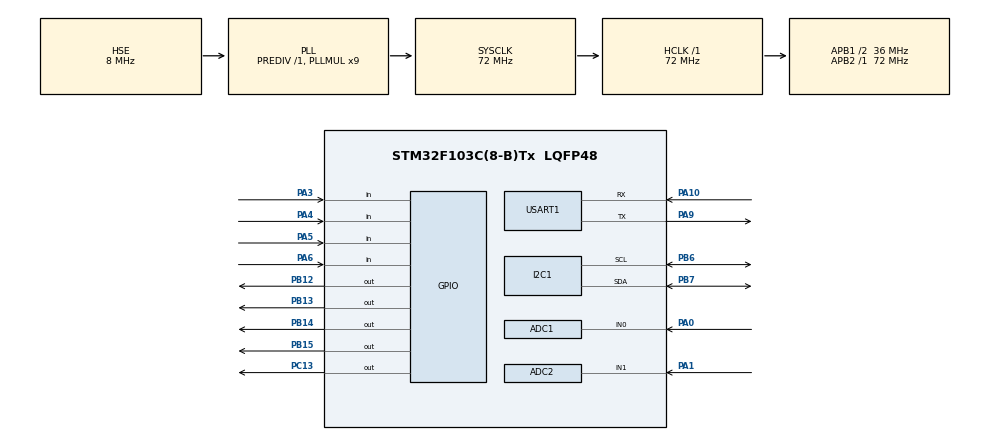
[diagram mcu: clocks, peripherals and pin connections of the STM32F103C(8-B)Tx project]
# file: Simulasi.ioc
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Mcu.Family=STM32F1
RCC.PLLSourceVirtual=RCC_PLLSOURCE_HSE
ADC1.Rank-0\#ChannelRegularConversion=1
PD1-OSC_OUT.Mode=HSE-External-Oscillator
PA10.Mode=Asynchronous
ADC1.ContinuousConvMode=ENABLE
ADC2.Channel-0\#ChannelRegularConversion=ADC_CHANNEL_1
PC13-TAMPER-RTC.Signal=GPIO_Output
PD0-OSC_IN.Signal=RCC_OSC_IN
RCC.APB1CLKDivider=RCC_HCLK_DIV2
PB13.Signal=GPIO_Output
PB15.Signal=GPIO_Output
RCC.SYSCLKSource=RCC_SYSCLKSOURCE_PLLCLK
ProjectManager.StackSize=0x400
PA0-WKUP.Signal=ADCx_IN0
PD1-OSC_OUT.Signal=RCC_OSC_OUT
RCC.ADCPresc=RCC_ADCPCLK2_DIV6
PA13.Signal=SYS_JTMS-SWDIO
PA9.Mode=Asynchronous
TIM1.Prescaler=72-1
ADC2.ContinuousConvMode=ENABLE
ProjectManager.TargetToolchain=STM32CubeIDE
RCC.HCLKFreq_Value=72000000
RCC.APB2TimFreq_Value=72000000
PA9.Signal=USART1_TX
PB6.Signal=I2C1_SCL
PB6.Mode=I2C
RCC.USBFreq_Value=72000000
PA1.Signal=ADCx_IN1
RCC.AHBFreq_Value=72000000
PD0-OSC_IN.Mode=HSE-External-Oscillator
PB14.Signal=GPIO_Output
PA5.Signal=GPIO_Input
ADC1.Channel-0\#ChannelRegularConversion=ADC_CHANNEL_0
board=custom
RCC.PLLMUL=RCC_PLL_MUL9
RCC.APB2Freq_Value=72000000
PA14.Mode=Serial_Wire
PB7.Signal=I2C1_SDA
SH.ADCx_IN0.0=ADC1_IN0,IN0
PA13.Mode=Serial_Wire
Mcu.Name=STM32F103C(8-B)Tx
VP_TIM1_VS_ClockSourceINT.Mode=Internal
ADC1.SamplingTime-0\#ChannelRegularConversion=ADC_SAMPLETIME_1CYCLE_5
PA4.Signal=GPIO_Input
RCC.SYSCLKFreq_VALUE=72000000
Mcu.Package=LQFP48
PA6.Signal=GPIO_Input
ADC1.master=1
ADC2.NbrOfConversionFlag=1
USART1.VirtualMode=VM_ASYNC
PB7.Mode=I2C
PA10.Signal=USART1_RX
PA14.Signal=SYS_JTCK-SWCLK
ProjectManager.HeapSize=0x200
ADC2.SamplingTime-0\#ChannelRegularConversion=ADC_SAMPLETIME_1CYCLE_5
NVIC.PriorityGroup=NVIC_PRIORITYGROUP_4
ADC1.NbrOfConversionFlag=1
SH.ADCx_IN1.0=ADC2_IN1,IN1
RCC.APB1TimFreq_Value=72000000
TIM1.Period=0xffff-1
ADC2.Rank-0\#ChannelRegularConversion=1
RCC.APB1Freq_Value=36000000
PB12.Signal=GPIO_Output
PA3.Signal=GPIO_Input

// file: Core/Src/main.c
/* USER CODE BEGIN Header */
/**
  ******************************************************************************
  * @file           : main.c
  * @brief          : Main program body
  ******************************************************************************
  * @attention
  *
  * <h2><center>&copy; Copyright (c) 2021 STMicroelectronics.
  * All rights reserved.</center></h2>
  *
  * This software component is licensed by ST under BSD 3-Clause license,
  * the "License"; You may not use this file except in compliance with the
  * License. You may obtain a copy of the License at:
  *                        opensource.org/licenses/BSD-3-Clause
  *
  ******************************************************************************
  */
/* USER CODE END Header */
#include "main.h"

/* USER CODE BEGIN Includes */
#include <string.h>
#include <stdio.h>
#include <stdlib.h>
#include <stdbool.h>

#include "math.h"
#include "i2c-lcd.h"
#include "micros.h" //https://github.com/leech001/micros
#include "stdio.h"
#include "keypad_4x4.h"
/* USER CODE END Includes */

/* USER CODE BEGIN PTD */
#define map(x,in_min,in_max,out_min,out_max) ( (x-in_min) * (out_max-out_min) / (in_max-in_min) + out_min )
/* USER CODE END PTD */

ADC_HandleTypeDef hadc1;
ADC_HandleTypeDef hadc2;

I2C_HandleTypeDef hi2c1;

TIM_HandleTypeDef htim1;

UART_HandleTypeDef huart1;

/* USER CODE BEGIN PV */
/*-----Var Serial UART-------*/
uint8_t buff_s[200];
uint16_t ukuranstring;
int decimalPrecision = 1; //pembulatan nilai desimal
/*------var LCD------*/
char key_val, buffer[5];
unsigned long startButtonMillis;
unsigned long AButtonMillis;
unsigned long mulai_MillisLCD;
unsigned long currentMillisLCD;
const unsigned long periodLCD = 1000;
int page = 1;
int z = 0;

/*-----Var Sample data Volt---*/
float V_Baca = 0;
float V_Last  = 0;
float V_SampleSum   = 0;
float V_SampleCount = 0;
float V_Mean;
float RMSVMean;
//offset Voltage AC
int V_Offset_Baca = 0;
float V_Offset1 = 0;
float getvalue1 = 0;

float V_Offset2 = 0;
float V_SampleSumOffset =0;
float offset_V_Mean = 0;
float V_OffsetLastSample = 0;
float V_OffsetSampleCount = 0;

/*-----Var Sample data Arus---*/
float mVperAmpValue = 185 ;
float A_SampleBaca = 0;
float A_LastSample  = 0;
float A_SampleSum   = 0;
float A_SampleCount = 0;
float A_Mean ;
float RMS_A_Mean = 0;
float FinalRMS_A ;
float currentDisplay = 0;
// offset Arus AC
int A_Offset_Baca = 0;
float A_Offset1 = 0;

float A_Offset2 = 0;
float A_SampleSumOffset = 0;
float offset_A_Mean = 0;
float A_OffsetLastSample = 0;
float A_OffsetSampleCount = 0;

/*-----  3- AC Power Measurement-------*/
float sample_A_1;
float sample_A_2;
float  sample_A_3;
float apparentPower;
float realPower = 0;
float Power_Baca = 0;
float powerLastSample = 0;
float powerSampleCount= 0;
float powerSampleSum  = 0;
float powerFactor = 0;
// Offset AC Power
int powerOffsetRead = 0;
float powerOffset = 0;
float powerOffsetLastSample = 0;
float powerOffsetSampleCount = 0;

/*-------4 - Daily Energy Measurement--*/
float dailyEnergy =   0;
float energyLastSample = 0;
float energySampleCount= 0;
float energySampleSum  = 0;
float Energi_Value = 0;
float Akumulasi_Energi = 0;
//Import & Export Energy
float importFinalEnergyValue = 0;
float exportFinalEnergyValue = 0;

/*-------var frequensi perhitungan-----*/
unsigned long startMicros;
unsigned long A_Micros;
int expectedFrequency = 47;

float freq_SampleCount = 0;
float frequency = 0;
float a;
float switch01 = 9;
float VanalogRead = 0;
/* USER CODE END PV */

void SystemClock_Config(void);
static void MX_GPIO_Init(void);
static void MX_ADC1_Init(void);
static void MX_ADC2_Init(void);
static void MX_USART1_UART_Init(void);
static void MX_I2C1_Init(void);
static void MX_TIM1_Init(void);

/* USER CODE BEGIN 0 */
uint32_t micros();
void delay_us();
void Tim_micros(uint16_t us){
	__HAL_TIM_SET_COUNTER(&htim1, 0);
	while (__HAL_TIM_GET_COUNTER(&htim1) < us);
}

void cleardata(){
	lcd_clear();
	lcd_send_cmd(0x80|0x03);
	lcd_send_string("KWH METER SOLLAR");
}
void Lcd_name(){
	lcd_send_cmd(0x80|0x02);
	lcd_send_string("KWH METER SOLLAR");
	lcd_send_cmd(0x80|0x18);
	lcd_send_string("BI-DIRECTIONAL");
	lcd_send_cmd(0x80|0x42);
	lcd_send_string("AC ENERGY METER");
	lcd_send_cmd(0x80|0x57);
	lcd_send_string("NAMA = FARKHAN");
	HAL_Delay(3000);
}
void indikasi(){
	HAL_GPIO_WritePin(GPIOC, GPIO_PIN_13, 1); HAL_Delay(200);
	HAL_GPIO_WritePin(GPIOC, GPIO_PIN_13, 0); HAL_Delay(200);
	HAL_GPIO_WritePin(GPIOC, GPIO_PIN_13, 1); HAL_Delay(200);
	HAL_GPIO_WritePin(GPIOC, GPIO_PIN_13, 0); HAL_Delay(200);
}
void setdata_Get2(){
	HAL_ADC_Start(&hadc1);
	while (__HAL_ADC_GET_FLAG(&hadc1, ADC_FLAG_EOC) != SET){;}
	V_Baca = HAL_ADC_GetValue(&hadc1);
	HAL_ADC_Stop(&hadc1);
	lcd_send_cmd(0x80|0x40);
	lcd_send_string("VOLT:");
	sprintf(buffer, "%.1f", V_Baca);
	lcd_send_string(buffer);

	HAL_ADC_Start(&hadc2);
	while (__HAL_ADC_GET_FLAG(&hadc2, ADC_FLAG_EOC) != SET){;}
	A_SampleBaca = HAL_ADC_GetValue(&hadc2);
	HAL_ADC_Stop(&hadc2);
	lcd_send_cmd(0x80|0x14);
	lcd_send_string("ARUS:");
	sprintf(buffer, "%.1f", A_SampleBaca);
	lcd_send_string(buffer);
	delay_us(100000);

		key_val = keypad_get_key_value();
		lcd_send_cmd(0x80|0x54);
		lcd_send_string("KEYP:");
		lcd_send_cmd(0x80 | 0x59);
		lcd_send_data(key_val);

	   ukuranstring = sprintf((char*)buff_s, "Data salah\r\n");
	   HAL_UART_Transmit(&huart1, buffer, ukuranstring, 100);
}
/* USER CODE END 0 */

int main(void)
{

  /* MCU Configuration--------------------------------------------------------*/

  /* Reset of all peripherals, Initializes the Flash interface and the Systick. */
  HAL_Init();

  /* Configure the system clock */
  SystemClock_Config();

  /* Initialize all configured peripherals */
  MX_GPIO_Init();
  MX_ADC1_Init();
  MX_ADC2_Init();
  MX_USART1_UART_Init();
  MX_I2C1_Init();
  MX_TIM1_Init();
  /* USER CODE BEGIN 2 */
  HAL_TIM_Base_Start(&htim1);
  DWT_Init();
  startMicros = micros(); /*mulai counter frequensi*/
  lcd_init();
  keypad_init();
  Lcd_name();
  lcd_clear();
  lcd_send_cmd(0x80|0x03);
  lcd_send_string("KWH METER SOLAR");
  indikasi();
  mulai_MillisLCD = HAL_GetTick();
  startButtonMillis = HAL_GetTick();
  ukuranstring = sprintf((char*)buff_s, "Mulai Perhitungan Solar");
  HAL_UART_Transmit(&huart1, buff_s, ukuranstring, 100);
  cleardata();
  /* USER CODE END 2 */

  /* Infinite loop */
  while (1)
  {

    /* USER CODE BEGIN 3 */
	  key_val = keypad_get_key_value();
	  AButtonMillis = HAL_GetTick();

	  if (AButtonMillis - startButtonMillis >= 300){
		  if (key_val == '0'){
			  cleardata();
		  }
		  if (key_val == '6'){
			cleardata();
			lcd_send_cmd(0x80|0x40);
			lcd_send_string("<TEKAN TOMBOL 5");
		  }
		  if (key_val == '2'){
			  cleardata();
			  page = page - 1;
			  if (page <= 0){
				  page = 1;
			  }
			  startButtonMillis = HAL_GetTick();
		  }
		  if (key_val == '8'){
			  cleardata();
			  page = page + 1;
			  if (page > 3){
				  page = 3;
			  }
			  startButtonMillis = HAL_GetTick();
		  }
		  if (key_val == '4'){
			  	cleardata();
				lcd_send_cmd(0x80|0x40);
				lcd_send_string("TEKAN TOMBOL 5");
		  }
		  if (key_val == '5'){
			  // untuk mengaktifkan offset
            A_Offset_Baca = 1;
            V_Offset_Baca = 1;
            powerOffsetRead = 1;
			lcd_send_cmd(0x80|0x40);
			lcd_send_string("INISIALISASI 5 DETIK");
		  }
	  }

	  /*-------Perhitungan tegangan AC--------*/
	  if(HAL_GetTick() >= V_Last + 1){ //Setiap satu milisecond sekali baca
		  HAL_ADC_Start(&hadc1);
		  while (__HAL_ADC_GET_FLAG(&hadc1, ADC_FLAG_EOC) != SET){;}
		  HAL_ADC_Stop(&hadc1);
	  	  int getvalue1 = HAL_ADC_GetValue(&hadc1);
		  int voltageanalogInput = map(getvalue1, 0, 4095, 0, 1024);
		  V_Baca = 2 * (voltageanalogInput - 512) + V_Offset1;
		  V_SampleSumOffset = V_SampleSumOffset + V_Baca;

		  V_SampleSum = V_SampleSum + (V_Baca * V_Baca);
		  V_SampleCount = V_SampleCount + 1;
		  V_Last = HAL_GetTick();
	  }

	  if (V_SampleCount == 1000){
		  offset_V_Mean = V_SampleSumOffset/V_SampleCount; //rata rata tegangan
		  V_Mean = V_SampleSum/V_SampleCount;

		  RMSVMean = sqrt(V_Mean)+ V_Offset2;

		  ukuranstring = sprintf((char*)buff_s, "%.1f V  ",RMSVMean);
		  HAL_UART_Transmit(&huart1, buff_s, ukuranstring, 100);

          V_SampleSum = 0;
          V_SampleCount = 0;
          V_SampleSumOffset = 0;
	  }

	  /*-------Offset Tegangan AC-------*/
	  if (V_Offset_Baca == 1){ //run ketika tombol 5 aktif
		  V_Offset1 = 0;
		  if(HAL_GetTick() >= V_OffsetLastSample + 1){
			  V_OffsetSampleCount = V_OffsetSampleCount + 1;
			  V_OffsetLastSample = HAL_GetTick(); //reset
		  }
		  if (V_OffsetSampleCount == 2000){ //run setiap 2 detik sekali
              V_Offset1 = -1*(offset_V_Mean);   /*set nilai offset */
              V_Offset_Baca = 2;
              V_OffsetSampleCount = 0;
		  }
	  }

	  if (V_Offset_Baca == 2){
		  V_Offset2 = 0;
		  if(HAL_GetTick() >= V_OffsetLastSample + 1){
              V_OffsetSampleCount = V_OffsetSampleCount + 1;
              V_OffsetLastSample = HAL_GetTick(); //reset
		  }
		  if (V_OffsetSampleCount == 2000){ //run setiap 2 detik sekali
              V_Offset2 = - RMSVMean; /* set nilai offset*/
              V_Offset_Baca = 0;
              V_OffsetSampleCount = 0;
		  }
	  }

	  /*--------Perhitungan Arus AC--------*/
	  if (HAL_GetTick() >= A_LastSample + 1){ //baca setiap satu millis
			HAL_ADC_Start(&hadc2);
			while (__HAL_ADC_GET_FLAG(&hadc2, ADC_FLAG_EOC) != SET){;}
			HAL_ADC_Stop(&hadc2);
			int getvalue_A = HAL_ADC_GetValue(&hadc2);
			int CurrentAnalogInput = map(getvalue_A, 0, 4095, 0, 1024);
			A_SampleBaca = CurrentAnalogInput-512 + A_Offset1;

			A_SampleSumOffset = A_SampleSumOffset + A_SampleBaca;

            A_SampleSum = A_SampleSum + (A_SampleBaca * A_SampleBaca) ;
            A_SampleCount = A_SampleCount + 1;
            A_LastSample = HAL_GetTick();
	  }

	  if (A_SampleCount == 1000){
          offset_A_Mean = A_SampleSumOffset/A_SampleCount; /*rata rata nilai offset*/

          A_Mean = A_SampleSum/A_SampleCount;
          RMS_A_Mean = sqrt(A_Mean)+A_Offset2 ;
          FinalRMS_A = (((RMS_A_Mean /1024) *5000) /mVperAmpValue);

		  ukuranstring = sprintf((char*)buff_s, "%.1f A  ",FinalRMS_A);
		  HAL_UART_Transmit(&huart1, buff_s, ukuranstring, 100);

          A_SampleSum = 0;
          A_SampleCount = 0;
          A_SampleSumOffset = 0;
	  }

	  /*----- Offset Arus AC-------*/
	  if (A_Offset_Baca == 1){ //Run ketika tombol 5 ditekan
		  A_Offset1 = 0;
		  if (HAL_GetTick() >= A_OffsetLastSample + 1){
              A_OffsetSampleCount = A_OffsetSampleCount + 1;
              A_OffsetLastSample = HAL_GetTick();
		  }
		  if (A_OffsetSampleCount == 2000){
              A_Offset1 = - offset_A_Mean;
              A_Offset_Baca = 2;
              A_OffsetSampleCount = 0;
		  }
	  }

	  if (A_Offset_Baca == 2){
		  A_Offset2 = 0;
		  if (HAL_GetTick() >= A_OffsetLastSample + 1){
              A_OffsetSampleCount = A_OffsetSampleCount + 1;
              A_OffsetLastSample = HAL_GetTick();
		  }
          if(A_OffsetSampleCount == 2000)   /* setelah 2 detik, jalan program*/
            {
              A_Offset2 = - RMS_A_Mean;/* set nilai offset */
              A_Offset_Baca = 0;
              A_OffsetSampleCount = 0;
            }
	  }

	  /*----AC POWER dengan penyearah---*/
	  if (HAL_GetTick() >= powerLastSample + 1){//Run setelah 1 millis
			HAL_ADC_Start(&hadc2);
			while (__HAL_ADC_GET_FLAG(&hadc2, ADC_FLAG_EOC) != SET){;}
			HAL_ADC_Stop(&hadc2);
	  	  	int getvalue2 = HAL_ADC_GetValue(&hadc2);
			int CurrentAnalogInput2 = map(getvalue2, 0, 4095, 0, 1024);
			sample_A_1 = CurrentAnalogInput2-512 + A_Offset1;
            sample_A_2 = (sample_A_1/1024)*5000;
            sample_A_3 = sample_A_2/mVperAmpValue;

  		  HAL_ADC_Start(&hadc1);
  		  while (__HAL_ADC_GET_FLAG(&hadc1, ADC_FLAG_EOC) != SET){;}
  		  HAL_ADC_Stop(&hadc1);
  		  int getVAC = HAL_ADC_GetValue(&hadc1);
  		  int voltageanalogInput2 = map(getVAC, 0, 4095, 0, 1024);
  		  V_Baca = 2 * (voltageanalogInput2 - 512) + V_Offset1;

          Power_Baca = V_Baca * sample_A_3; /*sample nilai daya*/
          powerSampleSum = powerSampleSum + Power_Baca; /*perhitungan nilai sample daya*/
          powerSampleCount = powerSampleCount + 1;
          powerLastSample = HAL_GetTick();
	  }

	  if (powerSampleCount == 1000){//tampilkan lcd 1 detik sekali
		  realPower = ((powerSampleSum/powerSampleCount)+ powerOffset) ;

		  ukuranstring = sprintf((char*)buff_s, "%.1f W  ",realPower);
		  HAL_UART_Transmit(&huart1, buff_s, ukuranstring, 100);

		  apparentPower = FinalRMS_A*RMSVMean;

		  ukuranstring = sprintf((char*)buff_s, "%.1f VA  ",apparentPower);
		  HAL_UART_Transmit(&huart1, buff_s, ukuranstring, 100);

          powerFactor = realPower/apparentPower;
          if(powerFactor >1 || powerFactor<0) /* jika power Factor </> 0, maka powerfactor = 0 */
          {
            powerFactor = 0;
          }
          powerSampleSum = 0;
          powerSampleCount = 0;
	  }

	  /*------Offset AC Power-----*/
	  if (powerOffsetRead == 1){
          powerOffset = 0;
          if(HAL_GetTick()>= powerOffsetLastSample + 1)
            {
              powerOffsetSampleCount = powerOffsetSampleCount + 1;
              powerOffsetLastSample = HAL_GetTick();
            }
          if(powerOffsetSampleCount == 5000) /*setelah 5 detik, program jalan*/
            {
              powerOffset = -realPower;
              powerOffsetRead = 0;
              powerOffsetSampleCount = 0;

              exportFinalEnergyValue = 0;
              importFinalEnergyValue = 0;
              Energi_Value = 0;
              cleardata();
            }
	  }

	  /*------Akumulasi & Pengukuran Energi Harian----*/
	  if (HAL_GetTick() >= energyLastSample + 1){
          energySampleCount = energySampleCount + 1;
          energyLastSample = HAL_GetTick();
	  }
	  if (energySampleCount == 1000){
		  Akumulasi_Energi = realPower/3600;
          Energi_Value = Energi_Value + Akumulasi_Energi;

		  ukuranstring = sprintf((char*)buff_s, "%.1f kWh  \r\n",Energi_Value/1000);
		  HAL_UART_Transmit(&huart1, buff_s, ukuranstring, 100);
		  /*Impor & Ekspor Akumulasi & Pengukuran Energi Harian*/
          if (Akumulasi_Energi >=0)                                                     /*Jika energinya positif, itu adalah energi import*/
            {
              importFinalEnergyValue = importFinalEnergyValue + Akumulasi_Energi;
            }

          if (Akumulasi_Energi <0)                                                      /* Jika energinya negatif, itu adalah energi ekspor*/
            {
              exportFinalEnergyValue = exportFinalEnergyValue - Akumulasi_Energi;
            }

      energySampleCount = 0 ;
	  }

	  /* Perhitungan Frequensi*/
	  if (z == 1){
          VanalogRead = V_Baca;
          if(VanalogRead < 0 && switch01 == 9)
          {
            switch01 = 8;
          }

          if(VanalogRead >= 0 && switch01 == 8)
          {
            startMicros = micros();
            switch01 = 7;
          }

          if(VanalogRead < 0 && switch01 == 7)
          {
            switch01 = 6;
          }
          if(VanalogRead >=0 && switch01 == 6)
          {
             A_Micros = micros();
             freq_SampleCount = freq_SampleCount +1 ;
             switch01 = 7;
          }

          if(freq_SampleCount == expectedFrequency)
            {
                a = A_Micros-startMicros;
                frequency = 1/((a/1000000)/freq_SampleCount); //rata rata frequensi
                ukuranstring = sprintf((char*)buff_s, "%.1f Hz  \r\n",frequency);
                HAL_UART_Transmit(&huart1, buff_s, ukuranstring, 100);
                freq_SampleCount = 0;
                switch01 = 9;
                z = 0;
            }
	  }

	  /*=======>tampilan LCD*/
	  currentMillisLCD = HAL_GetTick();
	  if (currentMillisLCD - mulai_MillisLCD >= periodLCD && page ==1){
		  if(realPower >= 0){
			  currentDisplay = FinalRMS_A;
		  }
		  if(realPower < 0){
			  currentDisplay = -FinalRMS_A;
		  }
		  lcd_send_cmd(0x80|0x14);
		  sprintf(buffer, "%.2fA", currentDisplay);
		  lcd_send_string(buffer);
		  lcd_send_cmd(0x80|0x19);
		  sprintf(buffer, "%.1fV", RMSVMean);
		  lcd_send_string(buffer);
		  lcd_send_cmd(0x80|0x54);
		  sprintf(buffer, "%.1fW", realPower);
		  lcd_send_string(buffer);
		  lcd_send_cmd(0x80|0x58);
		  sprintf(buffer, "%.1fVA", apparentPower);
		  lcd_send_string(buffer);
		  mulai_MillisLCD = currentMillisLCD;
		  z = 1;
	  }

	  if (currentMillisLCD - mulai_MillisLCD >= periodLCD && page == 2){
		  lcd_send_cmd(0x80|0x14);
		  lcd_send_string("PF=");
		  sprintf(buffer, "%.2f", powerFactor);
		  lcd_send_string(buffer);
		  lcd_send_cmd(0x80|0x20);
		  sprintf(buffer, "%.1fHz", frequency);
		  lcd_send_string(buffer);
		  lcd_send_cmd(0x80|0x54);
		  lcd_send_string("Net=");
		  sprintf(buffer, "%.2fkWh", Energi_Value/1000);
		  lcd_send_string(buffer);
		  mulai_MillisLCD = currentMillisLCD;
		  z = 1;
	  }
	  if (currentMillisLCD - mulai_MillisLCD >= periodLCD && page == 3){
		  lcd_send_cmd(0x80|0x14);
		  lcd_send_string("impE=");
		  sprintf(buffer, "%.2fkWh", importFinalEnergyValue/1000);
		  lcd_send_string(buffer);
		  lcd_send_cmd(0x80|0x54);
		  lcd_send_string("expE=");
		  sprintf(buffer, "%.2fkWh", exportFinalEnergyValue/1000);
		  lcd_send_string(buffer);
		  mulai_MillisLCD = currentMillisLCD;
		  z = 1;
	  }
  }
  /* USER CODE END 3 */
}

void SystemClock_Config(void)
{
  RCC_OscInitTypeDef RCC_OscInitStruct = {0};
  RCC_ClkInitTypeDef RCC_ClkInitStruct = {0};
  RCC_PeriphCLKInitTypeDef PeriphClkInit = {0};

  /** Initializes the RCC Oscillators according to the specified parameters
  * in the RCC_OscInitTypeDef structure.
  */
  RCC_OscInitStruct.OscillatorType = RCC_OSCILLATORTYPE_HSE;
  RCC_OscInitStruct.HSEState = RCC_HSE_ON;
  RCC_OscInitStruct.HSEPredivValue = RCC_HSE_PREDIV_DIV1;
  RCC_OscInitStruct.HSIState = RCC_HSI_ON;
  RCC_OscInitStruct.PLL.PLLState = RCC_PLL_ON;
  RCC_OscInitStruct.PLL.PLLSource = RCC_PLLSOURCE_HSE;
  RCC_OscInitStruct.PLL.PLLMUL = RCC_PLL_MUL9;
  if (HAL_RCC_OscConfig(&RCC_OscInitStruct) != HAL_OK)
  {
    Error_Handler();
  }
  /** Initializes the CPU, AHB and APB buses clocks
  */
  RCC_ClkInitStruct.ClockType = RCC_CLOCKTYPE_HCLK|RCC_CLOCKTYPE_SYSCLK
                              |RCC_CLOCKTYPE_PCLK1|RCC_CLOCKTYPE_PCLK2;
  RCC_ClkInitStruct.SYSCLKSource = RCC_SYSCLKSOURCE_PLLCLK;
  RCC_ClkInitStruct.AHBCLKDivider = RCC_SYSCLK_DIV1;
  RCC_ClkInitStruct.APB1CLKDivider = RCC_HCLK_DIV2;
  RCC_ClkInitStruct.APB2CLKDivider = RCC_HCLK_DIV1;

  if (HAL_RCC_ClockConfig(&RCC_ClkInitStruct, FLASH_LATENCY_2) != HAL_OK)
  {
    Error_Handler();
  }
  PeriphClkInit.PeriphClockSelection = RCC_PERIPHCLK_ADC;
  PeriphClkInit.AdcClockSelection = RCC_ADCPCLK2_DIV6;
  if (HAL_RCCEx_PeriphCLKConfig(&PeriphClkInit) != HAL_OK)
  {
    Error_Handler();
  }
}

static void MX_ADC1_Init(void)
{

  ADC_ChannelConfTypeDef sConfig = {0};

  /** Common config
  */
  hadc1.Instance = ADC1;
  hadc1.Init.ScanConvMode = ADC_SCAN_DISABLE;
  hadc1.Init.ContinuousConvMode = ENABLE;
  hadc1.Init.DiscontinuousConvMode = DISABLE;
  hadc1.Init.ExternalTrigConv = ADC_SOFTWARE_START;
  hadc1.Init.DataAlign = ADC_DATAALIGN_RIGHT;
  hadc1.Init.NbrOfConversion = 1;
  if (HAL_ADC_Init(&hadc1) != HAL_OK)
  {
    Error_Handler();
  }
  /** Configure Regular Channel
  */
  sConfig.Channel = ADC_CHANNEL_0;
  sConfig.Rank = ADC_REGULAR_RANK_1;
  sConfig.SamplingTime = ADC_SAMPLETIME_1CYCLE_5;
  if (HAL_ADC_ConfigChannel(&hadc1, &sConfig) != HAL_OK)
  {
    Error_Handler();
  }

}

static void MX_ADC2_Init(void)
{

  ADC_ChannelConfTypeDef sConfig = {0};

  /** Common config
  */
  hadc2.Instance = ADC2;
  hadc2.Init.ScanConvMode = ADC_SCAN_DISABLE;
  hadc2.Init.ContinuousConvMode = ENABLE;
  hadc2.Init.DiscontinuousConvMode = DISABLE;
  hadc2.Init.ExternalTrigConv = ADC_SOFTWARE_START;
  hadc2.Init.DataAlign = ADC_DATAALIGN_RIGHT;
  hadc2.Init.NbrOfConversion = 1;
  if (HAL_ADC_Init(&hadc2) != HAL_OK)
  {
    Error_Handler();
  }
  /** Configure Regular Channel
  */
  sConfig.Channel = ADC_CHANNEL_1;
  sConfig.Rank = ADC_REGULAR_RANK_1;
  sConfig.SamplingTime = ADC_SAMPLETIME_1CYCLE_5;
  if (HAL_ADC_ConfigChannel(&hadc2, &sConfig) != HAL_OK)
  {
    Error_Handler();
  }

}

static void MX_I2C1_Init(void)
{

  hi2c1.Instance = I2C1;
  hi2c1.Init.ClockSpeed = 100000;
  hi2c1.Init.DutyCycle = I2C_DUTYCYCLE_2;
  hi2c1.Init.OwnAddress1 = 0;
  hi2c1.Init.AddressingMode = I2C_ADDRESSINGMODE_7BIT;
  hi2c1.Init.DualAddressMode = I2C_DUALADDRESS_DISABLE;
  hi2c1.Init.OwnAddress2 = 0;
  hi2c1.Init.GeneralCallMode = I2C_GENERALCALL_DISABLE;
  hi2c1.Init.NoStretchMode = I2C_NOSTRETCH_DISABLE;
  if (HAL_I2C_Init(&hi2c1) != HAL_OK)
  {
    Error_Handler();
  }

}

static void MX_TIM1_Init(void)
{

  TIM_ClockConfigTypeDef sClockSourceConfig = {0};
  TIM_MasterConfigTypeDef sMasterConfig = {0};

  htim1.Instance = TIM1;
  htim1.Init.Prescaler = 72-1;
  htim1.Init.CounterMode = TIM_COUNTERMODE_UP;
  htim1.Init.Period = 0xffff-1;
  htim1.Init.ClockDivision = TIM_CLOCKDIVISION_DIV1;
  htim1.Init.RepetitionCounter = 0;
  htim1.Init.AutoReloadPreload = TIM_AUTORELOAD_PRELOAD_DISABLE;
  if (HAL_TIM_Base_Init(&htim1) != HAL_OK)
  {
    Error_Handler();
  }
  sClockSourceConfig.ClockSource = TIM_CLOCKSOURCE_INTERNAL;
  if (HAL_TIM_ConfigClockSource(&htim1, &sClockSourceConfig) != HAL_OK)
  {
    Error_Handler();
  }
  sMasterConfig.MasterOutputTrigger = TIM_TRGO_RESET;
  sMasterConfig.MasterSlaveMode = TIM_MASTERSLAVEMODE_DISABLE;
  if (HAL_TIMEx_MasterConfigSynchronization(&htim1, &sMasterConfig) != HAL_OK)
  {
    Error_Handler();
  }

}

static void MX_USART1_UART_Init(void)
{

  huart1.Instance = USART1;
  huart1.Init.BaudRate = 115200;
  huart1.Init.WordLength = UART_WORDLENGTH_8B;
  huart1.Init.StopBits = UART_STOPBITS_1;
  huart1.Init.Parity = UART_PARITY_NONE;
  huart1.Init.Mode = UART_MODE_TX_RX;
  huart1.Init.HwFlowCtl = UART_HWCONTROL_NONE;
  huart1.Init.OverSampling = UART_OVERSAMPLING_16;
  if (HAL_UART_Init(&huart1) != HAL_OK)
  {
    Error_Handler();
  }

}

static void MX_GPIO_Init(void)
{
  GPIO_InitTypeDef GPIO_InitStruct = {0};

  /* GPIO Ports Clock Enable */
  __HAL_RCC_GPIOC_CLK_ENABLE();
  __HAL_RCC_GPIOD_CLK_ENABLE();
  __HAL_RCC_GPIOA_CLK_ENABLE();
  __HAL_RCC_GPIOB_CLK_ENABLE();

  /*Configure GPIO pin Output Level */
  HAL_GPIO_WritePin(GPIOC, GPIO_PIN_13, GPIO_PIN_RESET);

  /*Configure GPIO pin Output Level */
  HAL_GPIO_WritePin(GPIOB, GPIO_PIN_12|GPIO_PIN_13|GPIO_PIN_14|GPIO_PIN_15, GPIO_PIN_RESET);

  /*Configure GPIO pin : PC13 */
  GPIO_InitStruct.Pin = GPIO_PIN_13;
  GPIO_InitStruct.Mode = GPIO_MODE_OUTPUT_PP;
  GPIO_InitStruct.Pull = GPIO_NOPULL;
  GPIO_InitStruct.Speed = GPIO_SPEED_FREQ_LOW;
  HAL_GPIO_Init(GPIOC, &GPIO_InitStruct);

  /*Configure GPIO pins : PA3 PA4 PA5 PA6 */
  GPIO_InitStruct.Pin = GPIO_PIN_3|GPIO_PIN_4|GPIO_PIN_5|GPIO_PIN_6;
  GPIO_InitStruct.Mode = GPIO_MODE_INPUT;
  GPIO_InitStruct.Pull = GPIO_NOPULL;
  HAL_GPIO_Init(GPIOA, &GPIO_InitStruct);

  /*Configure GPIO pins : PB12 PB13 PB14 PB15 */
  GPIO_InitStruct.Pin = GPIO_PIN_12|GPIO_PIN_13|GPIO_PIN_14|GPIO_PIN_15;
  GPIO_InitStruct.Mode = GPIO_MODE_OUTPUT_PP;
  GPIO_InitStruct.Pull = GPIO_NOPULL;
  GPIO_InitStruct.Speed = GPIO_SPEED_FREQ_LOW;
  HAL_GPIO_Init(GPIOB, &GPIO_InitStruct);

}

void Error_Handler(void)
{
  __disable_irq();
  while (1)
  {
  }
}

/************************ (C) COPYRIGHT STMicroelectronics *****END OF FILE****/
